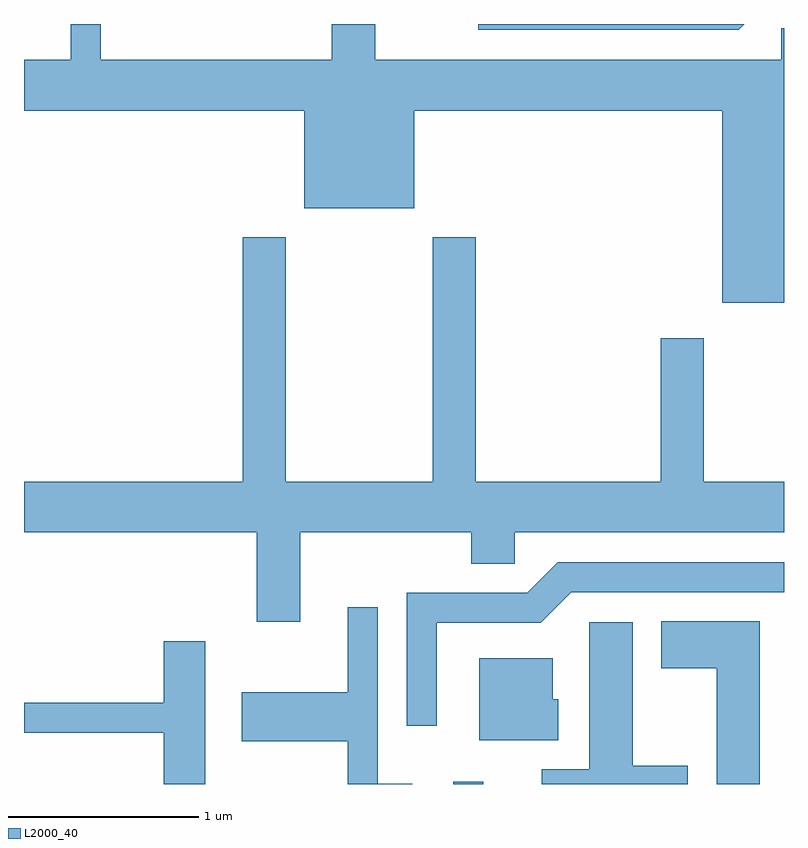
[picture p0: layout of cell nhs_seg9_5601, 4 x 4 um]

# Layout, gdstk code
import gdstk
lib = gdstk.Library(unit=1e-6, precision=1e-09)
def R(c, l, rs):  # rectangles x0, y0, x1, y1
    for r in rs: c.add(gdstk.rectangle(r[:2], r[2:], *l))
def P(c, l, *ps):  # polygons
    for p in ps: c.add(gdstk.Polygon(p, *l))
L2000_40 = (2000, 40)

nhs_seg9_5601 = lib.new_cell('nhs_seg9_5601')
R(nhs_seg9_5601, L2000_40, [(351.871,2050.432,352.029,2050.443)])
P(nhs_seg9_5601, L2000_40, [(353.611,2054.409),(353.596,2054.409),(353.596,2054.244),(351.459,2054.244),(351.459,2054.432),(351.231,2054.432),(351.231,2054.244),(350.014,2054.244),(350.014,2054.432),(349.856,2054.432),(349.856,2054.244),(349.611,2054.244),(349.611,2053.976),(351.086,2053.976),(351.086,2053.461),(351.664,2053.461),(351.664,2053.976),(353.286,2053.976),(353.286,2052.966),(353.611,2052.966)],
  [(353.403,2054.432),(352.001,2054.432),(352.001,2054.401),(353.372,2054.401)],
  [(351.064,2051.756),(351.966,2051.756),(351.966,2051.591),(352.194,2051.591),(352.194,2051.756),(353.611,2051.756),(353.611,2052.024),(353.189,2052.024),(353.189,2052.779),(352.961,2052.779),(352.961,2052.024),(351.989,2052.024),(351.989,2053.309),(351.761,2053.309),(351.761,2052.024),(350.989,2052.024),(350.989,2053.309),(350.761,2053.309),(350.761,2052.024),(349.611,2052.024),(349.611,2051.756),(350.836,2051.756),(350.836,2051.286),(351.064,2051.286)],
  [(351.784,2051.281),(352.332,2051.281),(352.492,2051.441),(353.611,2051.441),(353.611,2051.599),(352.419,2051.599),(352.259,2051.439),(351.626,2051.439),(351.626,2050.738),(351.784,2050.738)],
  [(351.654,2050.434),(351.474,2050.434),(351.474,2051.363),(351.316,2051.363),(351.316,2050.914),(350.756,2050.914),(350.756,2050.656),(351.316,2050.656),(351.316,2050.432),(351.654,2050.432)],
  [(353.484,2051.289),(352.966,2051.289),(352.966,2051.041),(353.256,2051.041),(353.256,2050.432),(353.484,2050.432)],
  [(353.104,2050.529),(352.814,2050.529),(352.814,2051.284),(352.586,2051.284),(352.586,2050.509),(352.336,2050.509),(352.336,2050.432),(353.104,2050.432)],
  [(350.564,2051.184),(350.346,2051.184),(350.346,2050.859),(349.611,2050.859),(349.611,2050.701),(350.346,2050.701),(350.346,2050.432),(350.564,2050.432)],
  [(352.424,2050.879),(352.394,2050.879),(352.394,2051.094),(352.006,2051.094),(352.006,2050.661),(352.424,2050.661)])

lib.write_gds('nhs_seg9_5601.gds')
